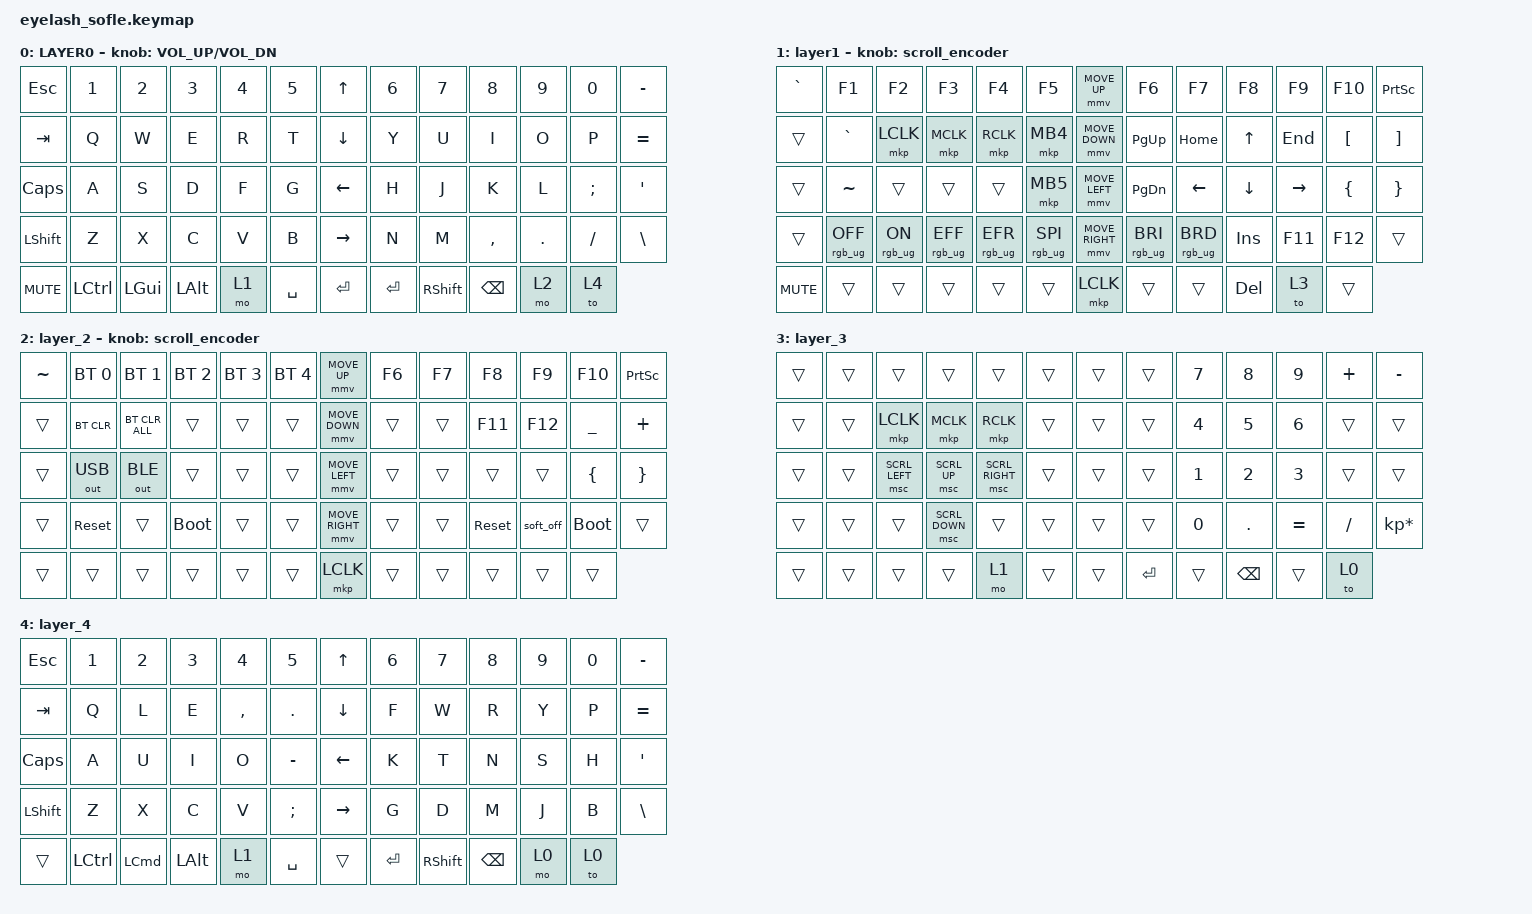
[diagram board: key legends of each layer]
#define ZMK_POINTING_DEFAULT_MOVE_VAL 1200  // 600
#define ZMK_POINTING_DEFAULT_SCRL_VAL 25   // 10

#include <input/processors.dtsi>
#include <zephyr/dt-bindings/input/input-event-codes.h>
#include <behaviors.dtsi>
#include <dt-bindings/zmk/bt.h>
#include <dt-bindings/zmk/keys.h>
#include <dt-bindings/zmk/outputs.h>
#include <dt-bindings/zmk/pointing.h>
#include <dt-bindings/zmk/rgb.h>

&mmv_input_listener { input-processors = <&zip_xy_scaler 2 1>; };

&msc_input_listener { input-processors = <&zip_scroll_scaler 2 1>; };

&msc {
    acceleration-exponent = <1>;      // 0
    time-to-max-speed-ms = <100>;       // 300
    delay-ms = <0>;                   // 0
};

&mmv {
    time-to-max-speed-ms = <500>;
    acceleration-exponent = <1>;
    trigger-period-ms = <16>;
};

/ {
    scroll_encoder: scroll_encoder {
        compatible = "zmk,behavior-sensor-rotate";
        #sensor-binding-cells = <0>;
        bindings = <&msc SCRL_DOWN>, <&msc SCRL_UP>;

        tap-ms = <100>;
    };

    behaviors {
    };

    keymap {
        compatible = "zmk,keymap";

        layer0 {
            bindings = <
&kp ESC         &kp N1     &kp N2        &kp N3        &kp N4  &kp N5       &kp UP_ARROW     &kp N6     &kp N7           &kp N8         &kp N9   &kp N0         &kp MINUS
&kp TAB         &kp Q      &kp W         &kp E         &kp R   &kp T        &kp DOWN_ARROW   &kp Y      &kp U            &kp I          &kp O    &kp P          &kp EQUAL
&kp CAPS        &kp A      &kp S         &kp D         &kp F   &kp G        &kp LEFT_ARROW   &kp H      &kp J            &kp K          &kp L    &kp SEMICOLON  &kp APOS
&kp LEFT_SHIFT  &kp Z      &kp X         &kp C         &kp V   &kp B        &kp RIGHT_ARROW  &kp N      &kp M            &kp COMMA      &kp DOT  &kp FSLH       &kp BACKSLASH
&kp C_MUTE      &kp LCTRL  &kp LEFT_GUI  &kp LEFT_ALT  &mo 1   &kp SPACE    &kp ENTER        &kp ENTER  &kp RIGHT_SHIFT  &kp BACKSPACE  &mo 2    &to 4
            >;

            sensor-bindings = <&inc_dec_kp C_VOLUME_UP C_VOL_DN>;
            display-name = "LAYER0";
        };

        layer_1 {
            bindings = <
&kp GRAVE   &kp F1           &kp F2          &kp F3           &kp F4           &kp F5             &mmv MOVE_UP     &kp F6           &kp F7           &kp F8      &kp F9     &kp F10           &kp PRINTSCREEN
&trans      &kp GRAVE        &mkp LCLK       &mkp MCLK        &mkp RCLK        &mkp MB4           &mmv MOVE_DOWN   &kp PG_UP        &kp HOME         &kp UP      &kp END    &kp LEFT_BRACKET  &kp RIGHT_BRACKET
&trans      &kp TILDE        &trans          &trans           &trans           &mkp MB5           &mmv MOVE_LEFT   &kp PG_DN        &kp LEFT         &kp DOWN    &kp RIGHT  &kp LEFT_BRACE    &kp RIGHT_BRACE
&trans      &rgb_ug RGB_OFF  &rgb_ug RGB_ON  &rgb_ug RGB_EFF  &rgb_ug RGB_EFR  &rgb_ug RGB_SPI    &mmv MOVE_RIGHT  &rgb_ug RGB_BRI  &rgb_ug RGB_BRD  &kp INSERT  &kp F11    &kp F12           &trans
&kp C_MUTE  &trans           &trans          &trans           &trans           &trans             &mkp LCLK        &trans           &trans           &kp DELETE  &to 3      &trans
            >;

            display-name = "layer1";
            sensor-bindings = <&scroll_encoder>;
        };

        layer_2 {
            bindings = <
&kp TILDE  &bt BT_SEL 0  &bt BT_SEL 1    &bt BT_SEL 2  &bt BT_SEL 3  &bt BT_SEL 4    &mmv MOVE_UP     &kp F6  &kp F7  &kp F8      &kp F9     &kp F10      &kp PRINTSCREEN
&trans     &bt BT_CLR    &bt BT_CLR_ALL  &trans        &trans        &trans          &mmv MOVE_DOWN   &trans  &trans  &kp F11     &kp F12    &kp UNDER    &kp PLUS
&trans     &out OUT_USB  &out OUT_BLE    &trans        &trans        &trans          &mmv MOVE_LEFT   &trans  &trans  &trans      &trans     &kp LBRC     &kp RBRC
&trans     &sys_reset    &trans          &bootloader   &trans        &trans          &mmv MOVE_RIGHT  &trans  &trans  &sys_reset  &soft_off  &bootloader  &trans
&trans     &trans        &trans          &trans        &trans        &trans          &mkp LCLK        &trans  &trans  &trans      &trans     &trans
            >;

            sensor-bindings = <&scroll_encoder>;
        };

        layer_3 {
            bindings = <
&trans  &trans  &trans          &trans          &trans           &trans    &trans  &trans     &kp N7  &kp N8         &kp N9     &kp PLUS  &kp MINUS
&trans  &trans  &mkp LCLK       &mkp MCLK       &mkp RCLK        &trans    &trans  &trans     &kp N4  &kp N5         &kp N6     &trans    &trans
&trans  &trans  &msc SCRL_LEFT  &msc SCRL_UP    &msc SCRL_RIGHT  &trans    &trans  &trans     &kp N1  &kp N2         &kp N3     &trans    &trans
&trans  &trans  &trans          &msc SCRL_DOWN  &trans           &trans    &trans  &trans     &kp N0  &kp DOT        &kp EQUAL  &kp FSLH  &kp KP_MULTIPLY
&trans  &trans  &trans          &trans          &mo 1            &trans    &trans  &kp ENTER  &trans  &kp BACKSPACE  &trans     &to 0
            >;
        };

        layer_4 {
            bindings = <
&kp ESC    &kp N1            &kp N2            &kp N3        &kp N4     &kp N5       &kp UP_ARROW    &kp N6     &kp N7     &kp N8    &kp N9  &kp N0  &kp MINUS
&kp TAB    &kp Q             &kp L             &kp E         &kp COMMA  &kp DOT      &kp DOWN_ARROW  &kp F      &kp W      &kp R     &kp Y   &kp P   &kp EQUAL
&kp CAPS   &kp A             &kp U             &kp I         &kp O      &kp MINUS    &kp LEFT_ARROW  &kp K      &kp T      &kp N     &kp S   &kp H   &kp APOS
&kp LSHFT  &kp Z             &kp X             &kp C         &kp V      &kp SEMI     &kp RIGHT       &kp G      &kp D      &kp M     &kp J   &kp B   &kp BSLH
&trans     &kp LEFT_CONTROL  &kp LEFT_COMMAND  &kp LEFT_ALT  &mo 1      &kp SPACE    &trans          &kp ENTER  &kp RSHFT  &kp BSPC  &mo 0   &to 0
            >;
        };
    };
};
